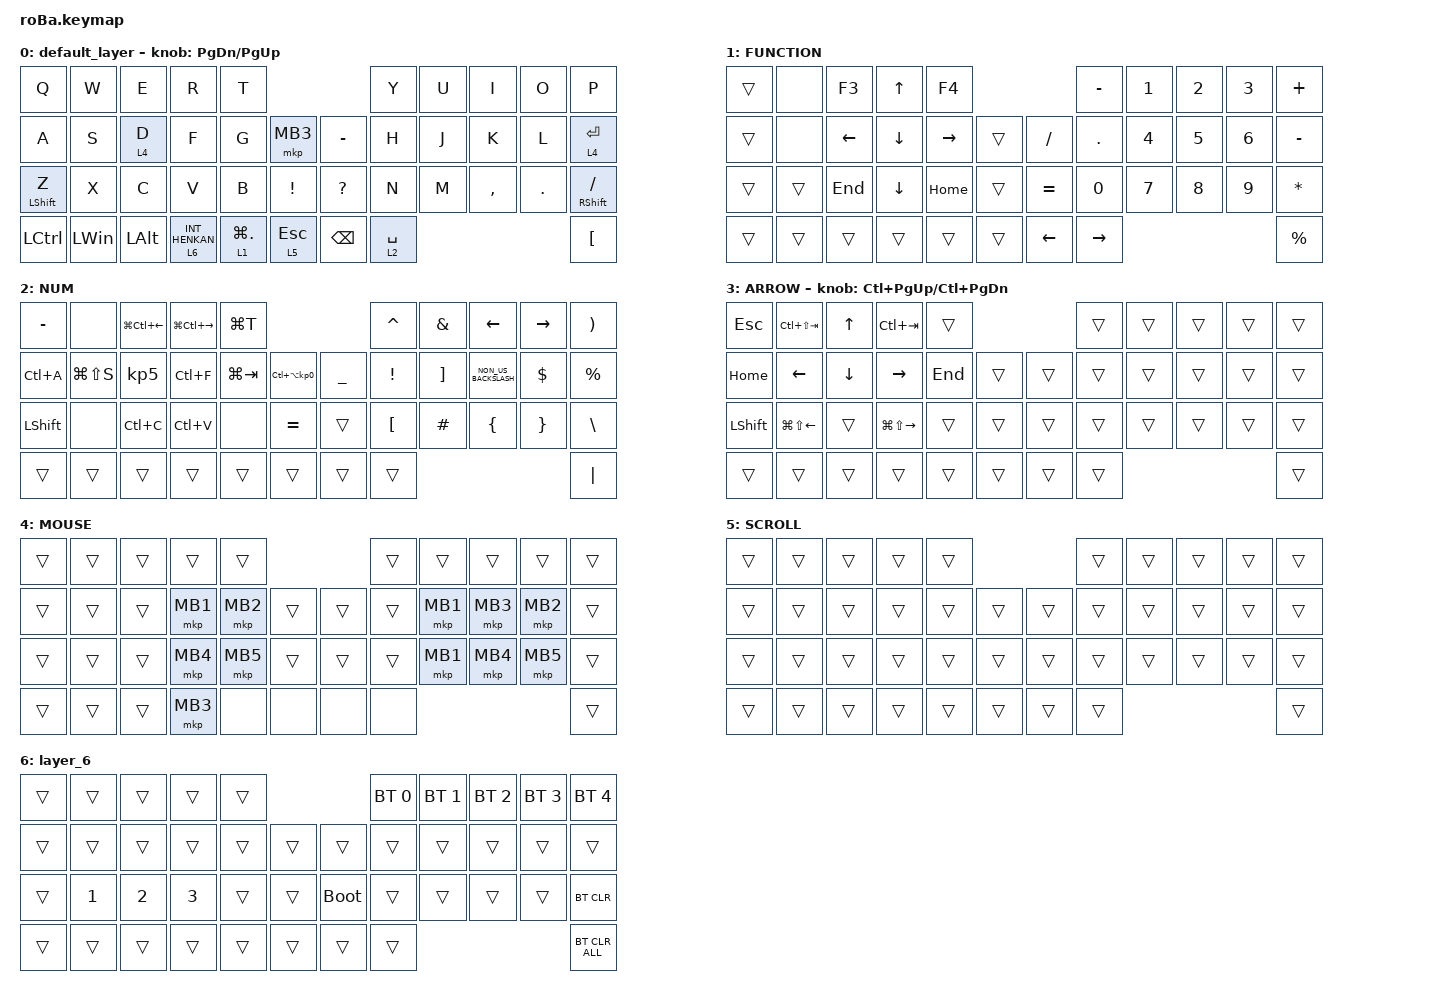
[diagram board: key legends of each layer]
#include <behaviors.dtsi>
#include <dt-bindings/zmk/bt.h>
#include <dt-bindings/zmk/keys.h>
#include <dt-bindings/zmk/pointing.h>

&mt {
    flavor = "balanced";
    quick-tap-ms = <0>;
};

&trackball {
    automouse-layer = <4>;
    scroll-layers = <5>;

    // arrows {
    //     layers = <3>;
    //     bindings =
    //         <&kp RIGHT_ARROW>,
    //         <&kp LEFT_ARROW>,
    //         <&kp UP_ARROW>,
    //         <&kp DOWN_ARROW>;
    //     tick = <10>;
    //     wait-ms = <5>;
    //     tap-ms = <5>;
    // };
};

/ {
    combos {
        compatible = "zmk,combos";

        muhennkann {
            bindings = <&to_layer_0 INT_MUHENKAN>;
            key-positions = <11 10>;
        };

        double_quotation {
            bindings = <&kp DOUBLE_QUOTES>;
            key-positions = <20 21>;
        };

        eq {
            bindings = <&kp EQUAL>;
            key-positions = <24 25>;
        };

        tab {
            bindings = <&kp TAB>;
            key-positions = <13 14>;
        };

        tab2 {
            bindings = <&kp LS(TAB)>;
            key-positions = <12 13>;
        };

        MOUS {
            bindings = <&lt 5 K_PLAY_PAUSE>;
            key-positions = <30 31>;
        };

        altenter {
            bindings = <&kp RA(ENTER)>;
            key-positions = <18 19>;
        };

        browsertab {
            bindings = <&kp LC(TAB)>;
            key-positions = <3 2>;
        };

        browsertab1 {
            bindings = <&kp LS(LC(TAB))>;
            key-positions = <2 1>;
        };

        burauzadet {
            bindings = <&kp RC(W)>;
            key-positions = <3 4>;
        };

        tasuku {
            bindings = <&kp LC(LA(DELETE))>;
            key-positions = <30 31 32>;
        };

        scroll {
            bindings = <&lt 5 K_PLAY_PAUSE>;
            key-positions = <19 20>;
        };
    };

    macros {
        to_layer_0: to_layer_0 {
            compatible = "zmk,behavior-macro-one-param";
            #binding-cells = <1>;
            bindings = <&to 0 &macro_param_1to1 &kp MACRO_PLACEHOLDER>;
            label = "TO_LAYER_0";
        };
    };

    behaviors {
        lt_to_layer_0: lt_to_layer_0 {
            compatible = "zmk,behavior-hold-tap";
            label = "LAYER_TAP_TO_0";
            bindings = <&mo>, <&to_layer_0>;

            #binding-cells = <2>;
            tapping-term-ms = <200>;
        };
    };

    keymap {
        compatible = "zmk,keymap";

        default_layer {
            bindings = <
&kp Q             &kp W         &kp E         &kp R                        &kp T                                                 &kp Y        &kp U  &kp I      &kp O    &kp P
&kp A             &kp S         &lt 4 D       &kp F                        &kp G             &mkp MB3             &kp MINUS      &kp H        &kp J  &kp K      &kp L    &lt 4 ENTER
&mt LEFT_SHIFT Z  &kp X         &kp C         &kp V                        &kp B             &kp EXCLAMATION      &kp QUESTION   &kp N        &kp M  &kp COMMA  &kp DOT  &mt RIGHT_SHIFT SLASH
&kp LCTRL         &kp LEFT_WIN  &kp LEFT_ALT  &lt_to_layer_0 6 INT_HENKAN  &lt 1 LG(PERIOD)  &lt 5 ESC            &kp BACKSPACE  &lt 2 SPACE                             &kp LEFT_BRACKET
            >;

            sensor-bindings = <&inc_dec_kp PAGE_DOWN PG_UP>;
        };

        FUNCTION {
            bindings = <
&trans  &none   &kp F3    &kp UP_ARROW  &kp F4                            &kp MINUS     &kp NUMBER_1  &kp NUMBER_2  &kp NUMBER_3  &kp PLUS
&trans  &none   &kp LEFT  &kp DOWN      &kp RIGHT  &trans      &kp SLASH  &kp PERIOD    &kp NUMBER_4  &kp NUMBER_5  &kp NUMBER_6  &kp MINUS
&trans  &trans  &kp END   &kp DOWN      &kp HOME   &trans      &kp EQUAL  &kp NUMBER_0  &kp NUMBER_7  &kp NUMBER_8  &kp NUMBER_9  &kp ASTERISK
&trans  &trans  &trans    &trans        &trans     &trans      &kp LEFT   &kp RIGHT                                               &kp PERCENT
            >;
        };

        NUM {
            bindings = <
&kp MINUS       &none          &kp LG(LC(LEFT))  &kp LG(LC(RIGHT))  &kp LG(T)                                                 &kp CARET         &kp AMPERSAND      &kp LEFT              &kp RIGHT        &kp RIGHT_PARENTHESIS
&kp LC(A)       &kp LG(LS(S))  &kp KP_NUMBER_5   &kp LC(F)          &kp LG(TAB)  &kp LC(LA(KP_NUMBER_0))      &kp UNDERSCORE  &kp EXCLAMATION   &kp RIGHT_BRACKET  &kp NON_US_BACKSLASH  &kp DOLLAR       &kp PERCENT
&kp LEFT_SHIFT  &none          &kp LC(C)         &kp LC(V)          &none        &kp EQUAL                    &trans          &kp LEFT_BRACKET  &kp HASH           &kp LEFT_BRACE        &kp RIGHT_BRACE  &kp BACKSLASH
&trans          &trans         &trans            &trans             &trans       &trans                       &trans          &trans                                                                      &kp PIPE
            >;
        };

        ARROW {
            bindings = <
&kp ESCAPE      &kp LC(LS(TAB))         &kp UP_ARROW    &kp LC(TAB)              &trans                       &trans  &trans  &trans  &trans  &trans
&kp HOME        &kp LEFT_ARROW          &kp DOWN_ARROW  &kp RIGHT_ARROW          &kp END  &trans      &trans  &trans  &trans  &trans  &trans  &trans
&kp LEFT_SHIFT  &kp LG(LS(LEFT_ARROW))  &trans          &kp LG(LS(RIGHT_ARROW))  &trans   &trans      &trans  &trans  &trans  &trans  &trans  &trans
&trans          &trans                  &trans          &trans                   &trans   &trans      &trans  &trans                          &trans
            >;

            sensor-bindings = <&inc_dec_kp LC(PAGE_UP) LC(PAGE_DOWN)>;
        };

        MOUSE {
            bindings = <
&trans  &trans  &trans  &trans    &trans                        &trans  &trans    &trans    &trans    &trans
&trans  &trans  &trans  &mkp MB1  &mkp MB2  &trans      &trans  &trans  &mkp MB1  &mkp MB3  &mkp MB2  &trans
&trans  &trans  &trans  &mkp MB4  &mkp MB5  &trans      &trans  &trans  &mkp MB1  &mkp MB4  &mkp MB5  &trans
&trans  &trans  &trans  &mkp MB3  &none     &none       &none   &none                                 &trans
            >;
        };

        SCROLL {
            bindings = <
&trans  &trans  &trans  &trans  &trans                      &trans  &trans  &trans  &trans  &trans
&trans  &trans  &trans  &trans  &trans  &trans      &trans  &trans  &trans  &trans  &trans  &trans
&trans  &trans  &trans  &trans  &trans  &trans      &trans  &trans  &trans  &trans  &trans  &trans
&trans  &trans  &trans  &trans  &trans  &trans      &trans  &trans                          &trans
            >;
        };

        layer_6 {
            bindings = <
&trans  &trans        &trans        &trans        &trans                           &bt BT_SEL 0  &bt BT_SEL 1  &bt BT_SEL 2  &bt BT_SEL 3  &bt BT_SEL 4
&trans  &trans        &trans        &trans        &trans  &trans      &trans       &trans        &trans        &trans        &trans        &trans
&trans  &kp NUMBER_1  &kp NUMBER_2  &kp NUMBER_3  &trans  &trans      &bootloader  &trans        &trans        &trans        &trans        &bt BT_CLR
&trans  &trans        &trans        &trans        &trans  &trans      &trans       &trans                                                  &bt BT_CLR_ALL
            >;
        };
    };
};
